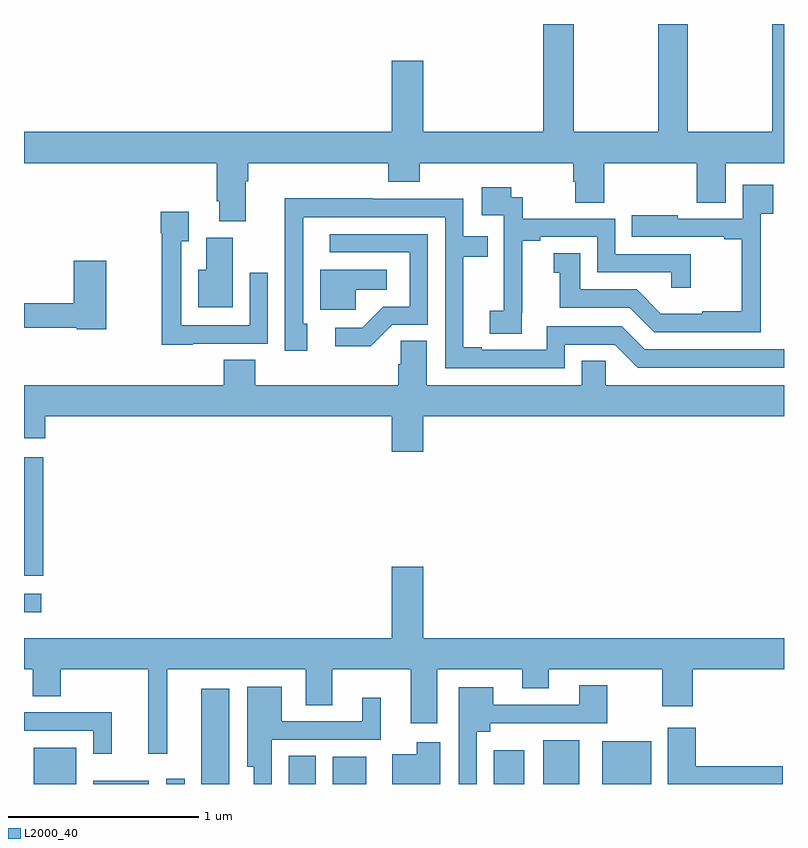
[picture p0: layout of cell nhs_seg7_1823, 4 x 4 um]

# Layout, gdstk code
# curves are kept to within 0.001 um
import gdstk
lib = gdstk.Library(unit=1e-6, precision=1e-09)
def R(c, l, rs):  # rectangles x0, y0, x1, y1
    for r in rs: c.add(gdstk.rectangle(r[:2], r[2:], *l))
def P(c, l, *ps):  # polygons
    for p in ps: c.add(gdstk.Polygon(p, *l))
L2000_40 = (2000, 40)

nhs_seg7_1823 = lib.new_cell('nhs_seg7_1823')
R(nhs_seg7_1823, L2000_40, [(235.052,1012,235.276,1012.192), (235.364,1012,235.657,1012.018), (235.749,1012,235.845,1012.027), (235.934,1012,236.08,1012.501), (236.393,1012,236.536,1012.148), (236.624,1012,236.8,1012.144), (237.473,1012,237.634,1012.177), (237.734,1012,237.922,1012.231), (238.043,1012,238.3,1012.225), (235,1012.904,235.09,1013.001), (235,1013.097,235.1,1013.721)])
P(nhs_seg7_1823, L2000_40, [(237.902,1015.06),(238.055,1015.06),(238.055,1015.268),(238.541,1015.268),(238.541,1015.06),(238.693,1015.06),(238.693,1015.268),(239,1015.268),(239,1016),(238.939,1016),(238.939,1015.432),(238.494,1015.432),(238.494,1016),(238.339,1016),(238.339,1015.432),(237.894,1015.432),(237.894,1016),(237.734,1016),(237.734,1015.432),(237.1,1015.432),(237.1,1015.807),(236.936,1015.807),(236.936,1015.432),(235,1015.432),(235,1015.268),(236.015,1015.268),(236.015,1015.066),(236.027,1015.066),(236.027,1014.961),(236.167,1014.961),(236.167,1015.172),(236.18,1015.172),(236.18,1015.268),(236.918,1015.268),(236.918,1015.169),(237.083,1015.169),(237.083,1015.268),(237.89,1015.268),(237.89,1015.17),(237.902,1015.17)],
  [(238.878,1015.001),(238.943,1015.001),(238.943,1015.153),(238.782,1015.153),(238.782,1014.975),(238.441,1014.975),(238.441,1014.994),(238.198,1014.994),(238.198,1014.879),(238.685,1014.879),(238.685,1014.867),(238.777,1014.867),(238.777,1014.487),(238.571,1014.487),(238.571,1014.475),(238.352,1014.475),(238.224,1014.603),(237.928,1014.603),(237.928,1014.794),(237.788,1014.794),(237.788,1014.691),(237.821,1014.691),(237.821,1014.507),(238.188,1014.507),(238.317,1014.378),(238.878,1014.378)],
  [(237.62,1014.481),(237.622,1014.481),(237.622,1014.859),(237.718,1014.859),(237.718,1014.879),(238.017,1014.879),(238.017,1014.693),(238.407,1014.693),(238.407,1014.612),(238.508,1014.612),(238.508,1014.789),(238.113,1014.789),(238.113,1014.975),(237.626,1014.975),(237.626,1015.089),(237.564,1015.089),(237.564,1015.141),(237.408,1015.141),(237.408,1014.993),(237.525,1014.993),(237.525,1014.689),(237.524,1014.689),(237.524,1014.492),(237.45,1014.492),(237.45,1014.37),(237.62,1014.37)],
  [(237.846,1014.312),(238.11,1014.312),(238.23,1014.192),(239,1014.192),(239,1014.288),(238.266,1014.288),(238.146,1014.408),(237.75,1014.408),(237.75,1014.285),(237.409,1014.285),(237.409,1014.3),(237.313,1014.3),(237.313,1014.774),(237.44,1014.774),(237.44,1014.882),(237.312,1014.882),(237.312,1015.08),(236.834,1015.08),(236.834,1015.082),(236.372,1015.082),(236.373,1014.279),(236.491,1014.279),(236.491,1014.423),(236.469,1014.423),(236.469,1014.984),(237.216,1014.984),(237.216,1014.189),(237.846,1014.189)],
  [(235.887,1014.318),(236.283,1014.318),(236.283,1014.691),(236.187,1014.691),(236.187,1014.414),(235.827,1014.414),(235.827,1014.856),(235.867,1014.856),(235.867,1015.012),(235.719,1015.012),(235.719,1014.899),(235.726,1014.899),(235.726,1014.311),(235.887,1014.311)],
  [(236.937,1014.417),(237.126,1014.417),(237.126,1014.894),(236.61,1014.894),(236.61,1014.798),(237.03,1014.798),(237.03,1014.513),(236.892,1014.513),(236.781,1014.402),(236.637,1014.402),(236.637,1014.305),(236.824,1014.305)],
  [(236.098,1014.876),(235.958,1014.876),(235.958,1014.706),(235.916,1014.706),(235.916,1014.509),(236.098,1014.509)],
  [(235.432,1014.754),(235.262,1014.754),(235.262,1014.53),(235,1014.53),(235,1014.402),(235.278,1014.402),(235.278,1014.394),(235.432,1014.394)],
  [(236.745,1014.602),(236.908,1014.602),(236.908,1014.706),(236.558,1014.706),(236.558,1014.495),(236.745,1014.495)],
  [(237.1,1013.936),(239,1013.936),(239,1014.1),(238.062,1014.1),(238.062,1014.227),(237.935,1014.227),(237.935,1014.1),(237.121,1014.1),(237.121,1014.332),(236.982,1014.332),(236.982,1014.209),(236.969,1014.209),(236.969,1014.1),(236.216,1014.1),(236.216,1014.233),(236.051,1014.233),(236.051,1014.1),(235,1014.1),(235,1013.819),(235.112,1013.819),(235.112,1013.936),(236.936,1013.936),(236.936,1013.748),(237.1,1013.748)],
  [(235.754,1012.604),(236.483,1012.604),(236.483,1012.414),(236.623,1012.414),(236.623,1012.604),(237.035,1012.604),(237.035,1012.32),(237.175,1012.32),(237.175,1012.604),(237.623,1012.604),(237.623,1012.505),(237.763,1012.505),(237.763,1012.604),(238.36,1012.604),(238.36,1012.41),(238.52,1012.41),(238.52,1012.604),(239,1012.604),(239,1012.768),(237.1,1012.768),(237.1,1013.143),(236.936,1013.143),(236.936,1012.768),(235,1012.768),(235,1012.604),(235.046,1012.604),(235.046,1012.462),(235.194,1012.462),(235.194,1012.604),(235.655,1012.604),(235.655,1012.158),(235.754,1012.158)],
  [(237.384,1012.274),(237.454,1012.274),(237.454,1012.32),(238.071,1012.32),(238.071,1012.519),(237.923,1012.519),(237.923,1012.416),(237.469,1012.416),(237.469,1012.51),(237.288,1012.51),(237.288,1012),(237.384,1012)],
  [(236.304,1012.233),(236.878,1012.233),(236.878,1012.453),(236.78,1012.453),(236.78,1012.329),(236.356,1012.329),(236.356,1012.513),(236.174,1012.513),(236.174,1012.091),(236.208,1012.091),(236.208,1012),(236.304,1012)],
  [(235.463,1012.377),(235,1012.377),(235,1012.281),(235.365,1012.281),(235.365,1012.158),(235.463,1012.158)],
  [(238.993,1012.094),(238.535,1012.094),(238.535,1012.297),(238.388,1012.297),(238.388,1012),(238.993,1012)],
  [(237.19,1012.219),(237.068,1012.219),(237.068,1012.156),(236.939,1012.156),(236.939,1012),(237.19,1012)])

lib.write_gds('nhs_seg7_1823.gds')
